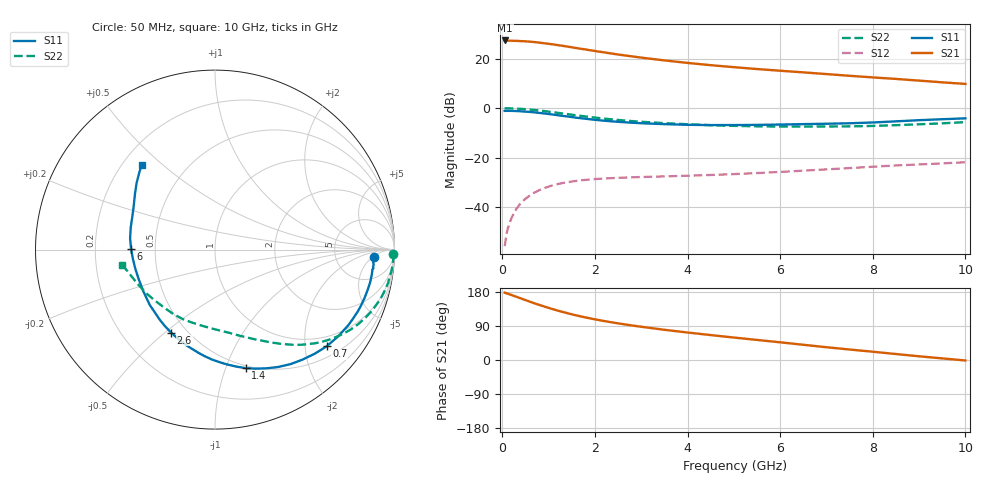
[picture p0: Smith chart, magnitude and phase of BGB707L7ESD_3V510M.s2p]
!  Infineon Technologies AG
!  BGB707L7ESD RU919007 w#7 Sample Build #08493 Teil Nr. 3
!  Vce = 3.5V, Ic = 10.0mA
!  DATUM: 30.06.2009 10:57:11
# GHz  S  MA  R  50
!f  S11  S21  S12  S22
!GHz  Mag  Ang  Mag  Ang  Mag  Ang  Mag  Ang
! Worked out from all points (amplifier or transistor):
!   52 points, 50 MHz to 10 GHz, reference 50 ohm
!   highest |S21| = 27.4 dB at 60 MHz (marker M1)
!   |S21| within 3 dB of that: start of sweep to 1.579 GHz
!   unconditionally stable (mu >= 1): 5.333 GHz to 9.317 GHz
!   at 130 MHz: K = 0.05, MSG = 37.7 dB, |S12| = -48.2 dB
!   at 1.4 GHz: K = 0.28, MSG = 27.4 dB, |S12| = -29.9 dB
!   at 10 GHz: K = 0.94, MSG = 15.8 dB, |S12| = -21.8 dB
!   lowest NFmin = 0.55 dB at 100 MHz
!   S11 on the Smith chart (normalised r, x): 50 MHz: 14, -6; 700 MHz: 0.74, -2.48; 1.4 GHz: 0.48, -1.18; 2.6 GHz: 0.41, -0.53; 6 GHz: 0.36, +0.00; 10 GHz: 0.28, +0.43
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0.05  0.8849 -2.8  22.99 177.7  0.001631 80.9  0.9942 -1.5
0.06  0.8888 -3.7  23.39 177.3  0.001781 82.7  0.9951 -1.9
0.08  0.8844 -4.6  23 176.3  0.002465 83.8  0.9951 -2.7
0.09  0.8879 -5.5  23.19 176.5  0.00293 84.8  0.9952 -3.1
0.1  0.8857 -6.1  23.06 175.5  0.003121 81.2  0.9944 -3.5
0.2  0.8835 -12.0  23.13 171.6  0.006076 82.3  0.9901 -7.2
0.45  0.8596 -26.7  22.63 160.3  0.0134 74.7  0.9636 -16.2
0.7  0.8228 -40.9  21.67 149.4  0.01987 67.1  0.9193 -24.5
0.9  0.783 -51.6  20.57 141.4  0.02419 61.5  0.8763 -30.7
1.1  0.7428 -61.7  19.44 133.8  0.02782 56.6  0.8295 -36.1
1.4  0.6822 -75.5  17.63 123.8  0.03197 50.6  0.7613 -43.4
1.8  0.6122 -91.7  15.36 112.3  0.03565 44.5  0.6803 -51.2
2.2  0.5587 -105.9  13.42 102.8  0.03799 40.6  0.6161 -57.6
2.6  0.5234 -117.8  11.81 94.8  0.03955 38.1  0.568 -63.1
3  0.4973 -128.3  10.53 87.7  0.04069 36.9  0.5324 -68.2
3.5  0.4765 -139.8  9.247 79.7  0.04192 36.4  0.4992 -74.0
4.5  0.456 -158.4  7.408 65.8  0.04476 37.8  0.4542 -85.6
5.5  0.4605 -173.7  6.19 53.0  0.04888 40.3  0.4307 -99.2
6  0.4675 179.7  5.717 46.7  0.0516 41.5  0.4264 -106.6
7  0.4856 165.2  4.895 33.7  0.05804 42.6  0.4276 -122.9
8.5  0.5429 145.2  3.907 15.8  0.06972 41.7  0.4547 -148.0
10  0.6244 130.9  3.094 -1.3  0.08095 39.1  0.5242 -170.9
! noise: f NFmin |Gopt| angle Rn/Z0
0.1  0.55  0.46  2  0.18
0.45  0.69  0.46  4  0.18
0.9  0.73  0.47  12  0.18
1.8  0.75  0.4  33  0.17
5  0.97  0.31  70  0.16
10  1.48  0.39  -123  0.14
